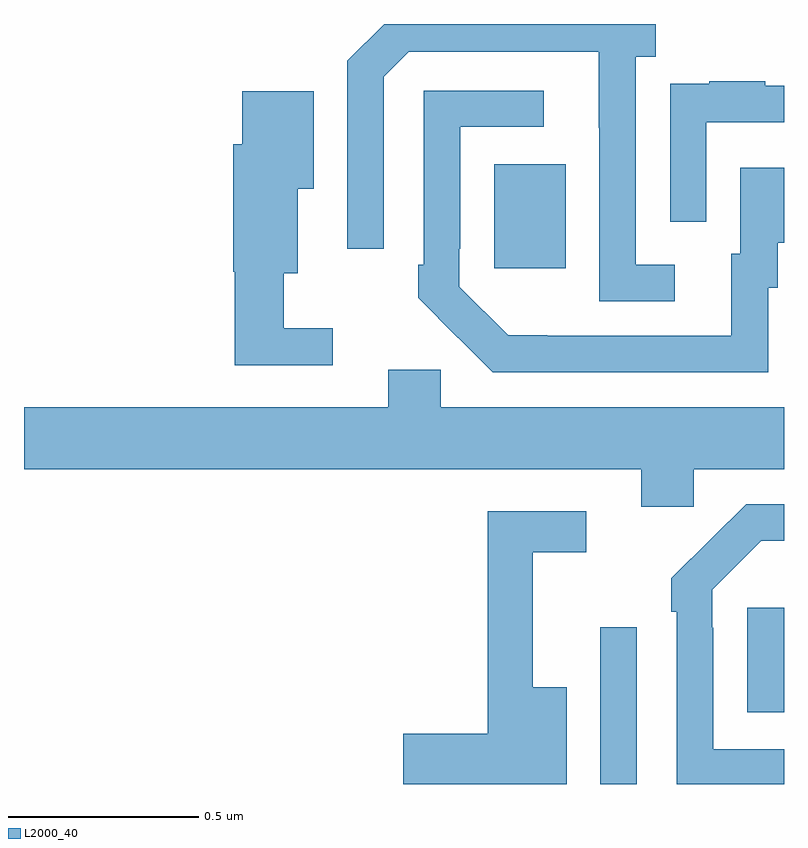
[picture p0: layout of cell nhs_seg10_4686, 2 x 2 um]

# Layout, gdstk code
import gdstk
lib = gdstk.Library(unit=1e-6, precision=1e-09)
def R(c, l, rs):  # rectangles x0, y0, x1, y1
    for r in rs: c.add(gdstk.rectangle(r[:2], r[2:], *l))
def P(c, l, *ps):  # polygons
    for p in ps: c.add(gdstk.Polygon(p, *l))
L2000_40 = (2000, 40)

nhs_seg10_4686 = lib.new_cell('nhs_seg10_4686')
R(nhs_seg10_4686, L2000_40, [(170.517,1287.5,170.613,1287.913), (170.903,1287.689,171,1287.964), (170.237,1288.857,170.425,1289.131)])
P(nhs_seg10_4686, L2000_40, [(170.713,1288.866),(170.61,1288.866),(170.61,1289.414),(170.662,1289.414),(170.662,1289.5),(169.948,1289.5),(169.851,1289.403),(169.851,1288.908),(169.947,1288.908),(169.947,1289.361),(170.013,1289.427),(170.513,1289.427),(170.513,1289.227),(170.514,1289.227),(170.514,1288.77),(170.713,1288.77)],
  [(170.796,1289.241),(171,1289.241),(171,1289.337),(170.951,1289.337),(170.951,1289.35),(170.803,1289.35),(170.803,1289.343),(170.701,1289.343),(170.701,1289.234),(170.7,1289.234),(170.7,1288.98),(170.796,1288.98)],
  [(170.958,1288.806),(170.983,1288.806),(170.983,1288.925),(171,1288.925),(171,1289.122),(170.885,1289.122),(170.885,1288.896),(170.861,1288.896),(170.861,1288.68),(170.377,1288.68),(170.377,1288.681),(170.274,1288.681),(170.145,1288.809),(170.145,1288.909),(170.148,1288.909),(170.148,1289.229),(170.368,1289.229),(170.368,1289.325),(170.052,1289.325),(170.052,1288.867),(170.037,1288.867),(170.037,1288.779),(170.142,1288.674),(170.143,1288.675),(170.234,1288.584),(170.958,1288.584)],
  [(169.813,1288.699),(169.684,1288.699),(169.684,1288.844),(169.72,1288.844),(169.72,1289.066),(169.762,1289.066),(169.762,1289.323),(169.574,1289.323),(169.574,1289.184),(169.55,1289.184),(169.55,1288.848),(169.555,1288.848),(169.555,1288.602),(169.813,1288.602)],
  [(170.763,1288.328),(171,1288.328),(171,1288.492),(170.097,1288.492),(170.097,1288.59),(169.958,1288.59),(169.958,1288.492),(169,1288.492),(169,1288.328),(170.624,1288.328),(170.624,1288.23),(170.763,1288.23)],
  [(171,1287.591),(170.814,1287.591),(170.814,1287.911),(170.811,1287.911),(170.811,1288.011),(170.94,1288.14),(171,1288.14),(171,1288.236),(170.9,1288.236),(170.809,1288.145),(170.808,1288.146),(170.703,1288.041),(170.703,1287.953),(170.718,1287.953),(170.718,1287.5),(171,1287.5)],
  [(170.428,1287.754),(170.339,1287.754),(170.339,1288.11),(170.479,1288.11),(170.479,1288.218),(170.221,1288.218),(170.221,1287.632),(169.998,1287.632),(169.998,1287.5),(170.428,1287.5)])

lib.write_gds('nhs_seg10_4686.gds')
